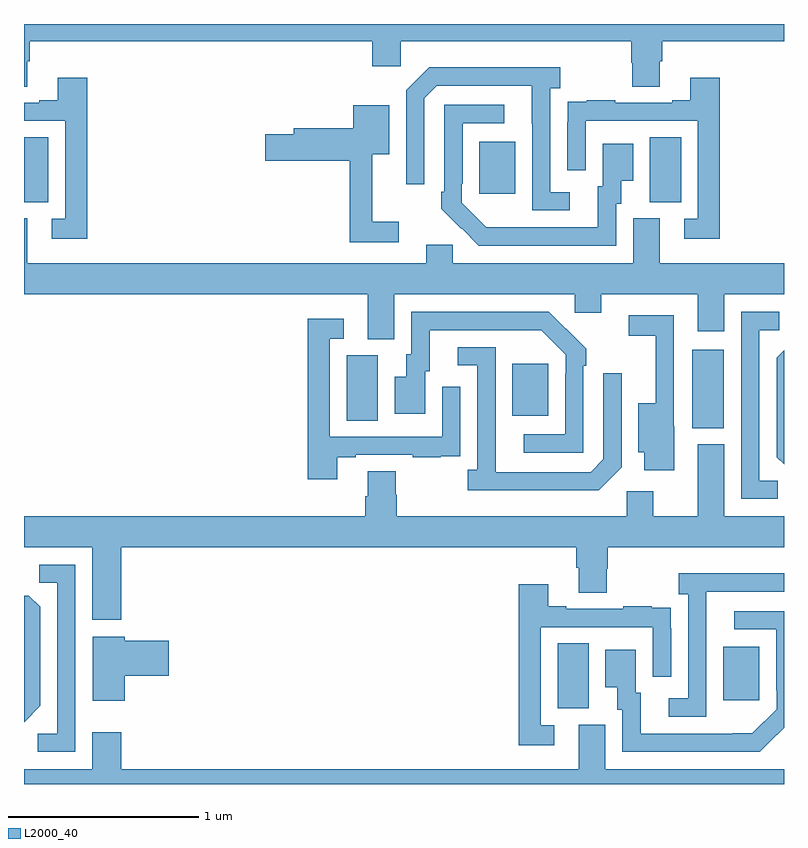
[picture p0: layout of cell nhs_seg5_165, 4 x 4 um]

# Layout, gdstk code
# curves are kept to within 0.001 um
import gdstk
lib = gdstk.Library(unit=1e-6, precision=1e-09)
def R(c, l, rs):  # rectangles x0, y0, x1, y1
    for r in rs: c.add(gdstk.rectangle(r[:2], r[2:], *l))
def P(c, l, *ps):  # polygons
    for p in ps: c.add(gdstk.Polygon(p, *l))
L2000_40 = (2000, 40)

nhs_seg5_165 = lib.new_cell('nhs_seg5_165')
R(nhs_seg5_165, L2000_40, [(121.808,905.197,121.972,905.54), (122.681,905.241,122.869,905.521), (122.516,906.671,122.683,907.084), (120.698,906.712,120.862,907.056), (121.571,906.737,121.759,907.012), (119,907.861,119.128,908.204), (122.294,907.861,122.458,908.204), (121.397,907.905,121.585,908.179)])
P(nhs_seg5_165, L2000_40, [(119.017,908.602),(119.03,908.602),(119.03,908.708),(120.833,908.708),(120.833,908.577),(120.984,908.577),(120.984,908.708),(122.195,908.708),(122.195,908.595),(122.2,908.595),(122.2,908.47),(122.347,908.47),(122.347,908.602),(122.36,908.602),(122.36,908.708),(123,908.708),(123,908.799),(119,908.799),(119,908.47),(119.017,908.47)],
  [(121.873,907.914),(121.77,907.914),(121.77,908.462),(121.822,908.462),(121.822,908.572),(121.132,908.572),(121.011,908.451),(121.011,907.956),(121.107,907.956),(121.107,908.409),(121.173,908.475),(121.673,908.475),(121.674,907.818),(121.873,907.818)],
  [(122.663,908.515),(122.507,908.515),(122.507,908.398),(122.411,908.398),(122.411,908.385),(122.111,908.385),(122.111,908.398),(121.963,908.398),(121.963,908.391),(121.861,908.391),(121.861,908.282),(121.86,908.282),(121.86,908.028),(121.956,908.028),(121.956,908.289),(122.547,908.289),(122.547,907.773),(122.475,907.773),(122.475,907.668),(122.663,907.668)],
  [(119.333,908.515),(119.177,908.515),(119.177,908.398),(119.081,908.398),(119.081,908.385),(119,908.385),(119,908.289),(119.217,908.289),(119.217,907.773),(119.145,907.773),(119.145,907.668),(119.333,907.668)],
  [(122.118,907.854),(122.143,907.854),(122.143,907.973),(122.206,907.973),(122.206,908.17),(122.045,908.17),(122.045,907.944),(122.021,907.944),(122.021,907.728),(121.434,907.729),(121.305,907.857),(121.305,907.957),(121.308,907.957),(121.308,908.277),(121.528,908.277),(121.528,908.373),(121.212,908.373),(121.212,907.915),(121.197,907.915),(121.197,907.827),(121.394,907.632),(122.118,907.632)],
  [(120.973,907.759),(120.833,907.759),(120.833,908.114),(120.922,908.114),(120.922,908.371),(120.734,908.371),(120.734,908.25),(120.419,908.25),(120.419,908.22),(120.27,908.22),(120.27,908.078),(120.715,908.078),(120.715,907.65),(120.973,907.65)],
  [(120.949,907.376),(121.899,907.376),(121.899,907.278),(122.038,907.278),(122.038,907.376),(122.546,907.376),(122.546,907.182),(122.686,907.182),(122.686,907.376),(123,907.376),(123,907.54),(122.347,907.54),(122.347,907.776),(122.207,907.776),(122.207,907.54),(121.257,907.54),(121.257,907.638),(121.118,907.638),(121.118,907.54),(119.017,907.54),(119.017,907.776),(119,907.776),(119,907.376),(120.809,907.376),(120.809,907.141),(120.949,907.141)],
  [(121.944,907.001),(121.959,907.001),(121.959,907.089),(121.762,907.284),(121.038,907.284),(121.038,907.062),(121.013,907.062),(121.013,906.943),(120.95,906.943),(120.95,906.747),(121.111,906.747),(121.111,906.972),(121.135,906.972),(121.135,907.188),(121.723,907.188),(121.851,907.059),(121.851,906.959),(121.848,906.959),(121.848,906.639),(121.629,906.639),(121.629,906.543),(121.944,906.543)],
  [(122.967,906.395),(122.871,906.395),(122.871,907.188),(122.974,907.188),(122.974,907.284),(122.775,907.284),(122.775,906.3),(122.967,906.3)],
  [(122.422,906.681),(122.421,906.681),(122.421,907.266),(122.184,907.266),(122.184,907.158),(122.324,907.158),(122.324,906.802),(122.234,906.802),(122.234,906.545),(122.264,906.545),(122.264,906.45),(122.422,906.45)],
  [(120.649,906.519),(120.745,906.519),(120.745,906.531),(121.045,906.531),(121.045,906.519),(121.193,906.519),(121.193,906.525),(121.295,906.525),(121.295,906.634),(121.296,906.634),(121.296,906.889),(121.2,906.889),(121.2,906.627),(120.609,906.627),(120.609,907.143),(120.682,907.143),(120.682,907.249),(120.493,907.249),(120.493,906.402),(120.649,906.402)],
  [(122.145,906.465),(122.145,906.961),(122.049,906.961),(122.049,906.507),(121.983,906.441),(121.483,906.441),(121.482,907.098),(121.284,907.098),(121.284,907.002),(121.386,907.002),(121.386,906.454),(121.335,906.454),(121.335,906.344),(122.024,906.344)],
  [(123,907.081),(122.961,907.042),(122.961,906.52),(123,906.481)],
  [(120.962,906.321),(120.957,906.321),(120.957,906.446),(120.809,906.446),(120.809,906.314),(120.797,906.314),(120.797,906.208),(119,906.208),(119,906.044),(119.36,906.044),(119.36,905.664),(119.513,905.664),(119.513,906.044),(121.907,906.044),(121.907,905.938),(121.919,905.938),(121.919,905.806),(122.067,905.806),(122.067,905.931),(122.072,905.931),(122.072,906.044),(123,906.044),(123,906.208),(122.686,906.208),(122.686,906.586),(122.546,906.586),(122.546,906.208),(122.311,906.208),(122.311,906.34),(122.172,906.34),(122.172,906.208),(120.962,906.208)],
  [(119.271,905.952),(119.08,905.952),(119.08,905.857),(119.175,905.857),(119.175,905.064),(119.073,905.064),(119.073,904.968),(119.271,904.968)],
  [(122.592,905.811),(123,905.811),(123,905.908),(122.445,905.908),(122.445,905.798),(122.496,905.798),(122.496,905.25),(122.394,905.25),(122.394,905.154),(122.592,905.154)],
  [(121.792,905.109),(121.719,905.109),(121.719,905.625),(122.31,905.625),(122.31,905.364),(122.406,905.364),(122.406,905.618),(122.405,905.618),(122.405,905.727),(122.303,905.727),(122.303,905.734),(122.155,905.734),(122.155,905.721),(121.855,905.721),(121.855,905.734),(121.759,905.734),(121.759,905.851),(121.603,905.851),(121.603,905.004),(121.792,905.004)],
  [(119.085,905.21),(119.085,905.732),(119.026,905.791),(119,905.791),(119,905.125)],
  [(122.963,905.059),(122.964,905.058),(123,905.094),(123,905.709),(122.739,905.709),(122.739,905.613),(122.958,905.613),(122.958,905.293),(122.961,905.293),(122.961,905.193),(122.833,905.065),(122.245,905.064),(122.245,905.28),(122.221,905.28),(122.221,905.506),(122.06,905.506),(122.06,905.309),(122.123,905.309),(122.123,905.19),(122.148,905.19),(122.148,904.968),(122.872,904.968)],
  [(119.53,905.369),(119.761,905.369),(119.761,905.552),(119.53,905.552),(119.53,905.575),(119.363,905.575),(119.363,905.238),(119.53,905.238)],
  [(123,904.876),(122.059,904.876),(122.059,905.112),(121.919,905.112),(121.919,904.876),(119.513,904.876),(119.513,905.071),(119.36,905.071),(119.36,904.876),(119,904.876),(119,904.799),(123,904.799)])

lib.write_gds('nhs_seg5_165.gds')
